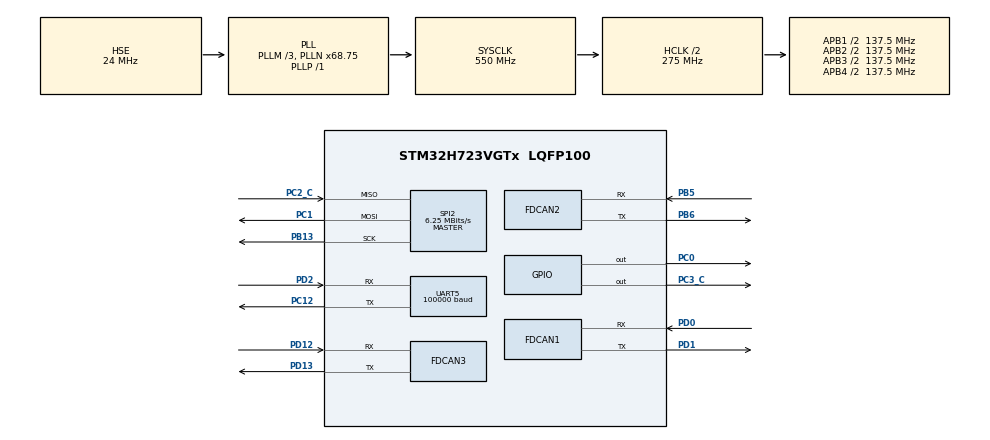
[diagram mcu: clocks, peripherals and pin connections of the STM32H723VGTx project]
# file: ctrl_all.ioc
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CORTEX_M7.default_mode_Activation=1
Dma.Request0=UART5_RX
Dma.UART5_RX.0.Direction=DMA_PERIPH_TO_MEMORY
Dma.UART5_RX.0.EventEnable=DISABLE
Dma.UART5_RX.0.FIFOMode=DMA_FIFOMODE_DISABLE
Dma.UART5_RX.0.Instance=DMA1_Stream0
Dma.UART5_RX.0.MemDataAlignment=DMA_MDATAALIGN_BYTE
Dma.UART5_RX.0.MemInc=DMA_MINC_ENABLE
Dma.UART5_RX.0.Mode=DMA_CIRCULAR
Dma.UART5_RX.0.PeriphDataAlignment=DMA_PDATAALIGN_BYTE
Dma.UART5_RX.0.PeriphInc=DMA_PINC_DISABLE
Dma.UART5_RX.0.Polarity=HAL_DMAMUX_REQ_GEN_RISING
Dma.UART5_RX.0.Priority=DMA_PRIORITY_VERY_HIGH
Dma.UART5_RX.0.RequestNumber=1
Dma.UART5_RX.0.SignalID=NONE
Dma.UART5_RX.0.SyncEnable=DISABLE
Dma.UART5_RX.0.SyncPolarity=HAL_DMAMUX_SYNC_NO_EVENT
Dma.UART5_RX.0.SyncRequestNumber=1
Dma.UART5_RX.0.SyncSignalID=NONE
FDCAN1.AutoRetransmission=ENABLE
FDCAN1.CalculateBaudRateNominal=1000000
FDCAN1.CalculateTimeBitNominal=1000
FDCAN1.CalculateTimeQuantumNominal=50.0
FDCAN1.NominalPrescaler=5
FDCAN1.NominalSyncJumpWidth=4
FDCAN1.NominalTimeSeg1=15
FDCAN1.NominalTimeSeg2=4
FDCAN1.ProtocolException=ENABLE
FDCAN1.RxFifo0ElmtsNbr=8
FDCAN1.RxFifo1ElmtsNbr=8
FDCAN1.StdFiltersNbr=2
FDCAN1.TxFifoQueueElmtsNbr=8
FDCAN2.CalculateBaudRateNominal=1000000
FDCAN2.CalculateTimeBitNominal=1000
FDCAN2.CalculateTimeQuantumNominal=50.0
FDCAN2.MessageRAMOffset=98
FDCAN2.NominalPrescaler=5
FDCAN2.NominalTimeSeg1=15
FDCAN2.NominalTimeSeg2=4
FDCAN2.RxFifo0ElmtsNbr=16
FDCAN2.RxFifo1ElmtsNbr=16
FDCAN2.StdFiltersNbr=2
FDCAN2.TxBuffersNbr=24
FDCAN2.TxFifoQueueElmtsNbr=8
FDCAN3.CalculateBaudRateNominal=1000000
FDCAN3.CalculateTimeBitNominal=1000
FDCAN3.CalculateTimeQuantumNominal=50.0
FDCAN3.MessageRAMOffset=356
FDCAN3.NominalPrescaler=5
FDCAN3.NominalTimeSeg1=15
FDCAN3.NominalTimeSeg2=4
FDCAN3.RxFifo0ElmtsNbr=16
FDCAN3.StdFiltersNbr=1
FDCAN3.TxBuffersNbr=24
FDCAN3.TxFifoQueueElmtsNbr=8
FREERTOS.Tasks01=defaultTask,24,128,StartDefaultTask,Default,NULL,Dynamic,NULL,NULL;chassis_Task,40,512,StartTask02,Default,NULL,Dynamic,NULL,NULL;remoter_Task,24,128,StartTask03,Default,NULL,Dynamic,NULL,NULL;GimbalTask,40,256,StartTask04,Default,NULL,Dynamic,NULL,NULL
Mcu.Family=STM32H7
Mcu.Name=STM32H723VGTx
Mcu.Package=LQFP100
NVIC.DMA1_Stream0_IRQn=true\:6\:0\:false\:false\:true\:true\:false\:true\:true
NVIC.FDCAN1_IT0_IRQn=true\:5\:0\:false\:false\:true\:true\:true\:true\:true
NVIC.FDCAN2_IT0_IRQn=true\:5\:0\:false\:false\:true\:true\:true\:true\:true
NVIC.FDCAN3_IT0_IRQn=true\:5\:0\:false\:false\:true\:true\:true\:true\:true
NVIC.PriorityGroup=NVIC_PRIORITYGROUP_4
NVIC.TIM6_DAC_IRQn=true\:15\:0\:false\:false\:true\:false\:false\:true\:true
NVIC.TimeBase=TIM6_DAC_IRQn
NVIC.TimeBaseIP=TIM6
NVIC.UART5_IRQn=true\:6\:0\:false\:false\:true\:true\:true\:true\:true
PA13(JTMS/SWDIO).Signal=DEBUG_JTMS-SWDIO
PA14(JTCK/SWCLK).Signal=DEBUG_JTCK-SWCLK
PB13.Mode=Full_Duplex_Master
PB13.Signal=SPI2_SCK
PB5.GPIO_Speed=GPIO_SPEED_FREQ_VERY_HIGH
PB5.Mode=FDCAN_Activate
PB5.Signal=FDCAN2_RX
PB6.GPIO_Speed=GPIO_SPEED_FREQ_VERY_HIGH
PB6.Mode=FDCAN_Activate
PB6.Signal=FDCAN2_TX
PC0.GPIO_Speed=GPIO_SPEED_FREQ_VERY_HIGH
PC0.PinState=GPIO_PIN_SET
PC0.Signal=GPIO_Output
PC1.Mode=Full_Duplex_Master
PC1.Signal=SPI2_MOSI
PC12.GPIO_Speed=GPIO_SPEED_FREQ_VERY_HIGH
PC12.Mode=Asynchronous
PC12.Signal=UART5_TX
PC2_C.Mode=Full_Duplex_Master
PC2_C.Signal=SPI2_MISO
PC3_C.GPIO_Speed=GPIO_SPEED_FREQ_VERY_HIGH
PC3_C.PinState=GPIO_PIN_SET
PC3_C.Signal=GPIO_Output
PD0.GPIO_Speed=GPIO_SPEED_FREQ_VERY_HIGH
PD0.Mode=FDCAN_Activate
PD0.Signal=FDCAN1_RX
PD1.GPIO_Speed=GPIO_SPEED_FREQ_VERY_HIGH
PD1.Mode=FDCAN_Activate
PD1.Signal=FDCAN1_TX
PD12.GPIO_Speed=GPIO_SPEED_FREQ_VERY_HIGH
PD12.Mode=FDCAN_Activate
PD12.Signal=FDCAN3_RX
PD13.GPIO_Speed=GPIO_SPEED_FREQ_VERY_HIGH
PD13.Mode=FDCAN_Activate
PD13.Signal=FDCAN3_TX
PD2.GPIO_Speed=GPIO_SPEED_FREQ_VERY_HIGH
PD2.Mode=Asynchronous
PD2.Signal=UART5_RX
PH0-OSC_IN.Mode=HSE-External-Oscillator
PH0-OSC_IN.Signal=RCC_OSC_IN
PH1-OSC_OUT.Mode=HSE-External-Oscillator
PH1-OSC_OUT.Signal=RCC_OSC_OUT
ProjectManager.HeapSize=0x200
ProjectManager.StackSize=0x400
ProjectManager.TargetToolchain=MDK-ARM V5.32
RCC.ADCFreq_Value=100000000
RCC.APB1Freq_Value=137500000
RCC.APB2Freq_Value=137500000
RCC.APB3Freq_Value=137500000
RCC.APB4Freq_Value=137500000
RCC.CortexFreq_Value=550000000
RCC.D1PPRE=RCC_APB3_DIV2
RCC.D2PPRE1=RCC_APB1_DIV2
RCC.D2PPRE2=RCC_APB2_DIV2
RCC.D3PPRE=RCC_APB4_DIV2
RCC.DIVM1=3
RCC.DIVM2=3
RCC.DIVN1=68
RCC.DIVN2=25
RCC.DIVP1=1
RCC.DIVQ1=4
RCC.FDCANCLockSelection=RCC_FDCANCLKSOURCE_PLL2
RCC.HCLKFreq_Value=275000000
RCC.HPRE=RCC_HCLK_DIV2
RCC.HSE_VALUE=24000000
RCC.PLLFRACN=6144
RCC.PLLSourceVirtual=RCC_PLLSOURCE_HSE
RCC.SPI123CLockSelection=RCC_SPI123CLKSOURCE_PLL2
RCC.SYSCLKFreq_VALUE=550000000
RCC.SYSCLKSource=RCC_SYSCLKSOURCE_PLLCLK
RCC.USBFreq_Value=137500000
SPI2.BaudRatePrescaler=SPI_BAUDRATEPRESCALER_16
SPI2.CalculateBaudRate=6.25 MBits/s
SPI2.DataSize=SPI_DATASIZE_8BIT
SPI2.Direction=SPI_DIRECTION_2LINES
SPI2.Mode=SPI_MODE_MASTER
SPI2.VirtualType=VM_MASTER
UART5.BaudRate=100000
UART5.Mode=MODE_RX
UART5.Parity=PARITY_EVEN
UART5.WordLength=WORDLENGTH_9B
VP_FREERTOS_VS_CMSIS_V2.Mode=CMSIS_V2
VP_MEMORYMAP_VS_MEMORYMAP.Mode=CurAppReg
VP_SYS_VS_tim6.Mode=TIM6
board=custom

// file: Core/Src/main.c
/* USER CODE BEGIN Header */
/**
  ******************************************************************************
  * @file           : main.c
  * @brief          : Main program body
  ******************************************************************************
  * @attention
  *
  * Copyright (c) 2026 STMicroelectronics.
  * All rights reserved.
  *
  * This software is licensed under terms that can be found in the LICENSE file
  * in the root directory of this software component.
  * If no LICENSE file comes with this software, it is provided AS-IS.
  *
  ******************************************************************************
  */
/* USER CODE END Header */
#include "main.h"
#include "FreeRTOS.h"
#include "cmsis_os2.h"
#include "dma.h"
#include "fdcan.h"
#include "spi.h"
#include "usart.h"
#include "gpio.h"

void SystemClock_Config(void);
void PeriphCommonClock_Config(void);
static void MPU_Config(void);
void MX_FREERTOS_Init(void);

int main(void)
{

  /* MPU Configuration--------------------------------------------------------*/
  MPU_Config();

  /* MCU Configuration--------------------------------------------------------*/

  /* Reset of all peripherals, Initializes the Flash interface and the Systick. */
  HAL_Init();

  /* Configure the system clock */
  SystemClock_Config();

  /* Configure the peripherals common clocks */
  PeriphCommonClock_Config();

  /* Initialize all configured peripherals */
  MX_GPIO_Init();
  MX_DMA_Init();
  MX_FDCAN1_Init();
  MX_FDCAN2_Init();
  MX_FDCAN3_Init();
  MX_SPI2_Init();
  MX_UART5_Init();

  /* Init scheduler */
  osKernelInitialize();  /* Call init function for freertos objects (in cmsis_os2.c) */
  MX_FREERTOS_Init();

  /* Start scheduler */
  osKernelStart();

  /* We should never get here as control is now taken by the scheduler */

  /* Infinite loop */
  while (1)
  {

  }
}

void SystemClock_Config(void)
{
  RCC_OscInitTypeDef RCC_OscInitStruct = {0};
  RCC_ClkInitTypeDef RCC_ClkInitStruct = {0};

  /** Supply configuration update enable
  */
  HAL_PWREx_ConfigSupply(PWR_LDO_SUPPLY);

  /** Configure the main internal regulator output voltage
  */
  __HAL_PWR_VOLTAGESCALING_CONFIG(PWR_REGULATOR_VOLTAGE_SCALE0);

  while(!__HAL_PWR_GET_FLAG(PWR_FLAG_VOSRDY)) {}

  /** Initializes the RCC Oscillators according to the specified parameters
  * in the RCC_OscInitTypeDef structure.
  */
  RCC_OscInitStruct.OscillatorType = RCC_OSCILLATORTYPE_HSE;
  RCC_OscInitStruct.HSEState = RCC_HSE_ON;
  RCC_OscInitStruct.PLL.PLLState = RCC_PLL_ON;
  RCC_OscInitStruct.PLL.PLLSource = RCC_PLLSOURCE_HSE;
  RCC_OscInitStruct.PLL.PLLM = 3;
  RCC_OscInitStruct.PLL.PLLN = 68;
  RCC_OscInitStruct.PLL.PLLP = 1;
  RCC_OscInitStruct.PLL.PLLQ = 4;
  RCC_OscInitStruct.PLL.PLLR = 2;
  RCC_OscInitStruct.PLL.PLLRGE = RCC_PLL1VCIRANGE_3;
  RCC_OscInitStruct.PLL.PLLVCOSEL = RCC_PLL1VCOWIDE;
  RCC_OscInitStruct.PLL.PLLFRACN = 6144;
  if (HAL_RCC_OscConfig(&RCC_OscInitStruct) != HAL_OK)
  {
    Error_Handler();
  }

  /** Initializes the CPU, AHB and APB buses clocks
  */
  RCC_ClkInitStruct.ClockType = RCC_CLOCKTYPE_HCLK|RCC_CLOCKTYPE_SYSCLK
                              |RCC_CLOCKTYPE_PCLK1|RCC_CLOCKTYPE_PCLK2
                              |RCC_CLOCKTYPE_D3PCLK1|RCC_CLOCKTYPE_D1PCLK1;
  RCC_ClkInitStruct.SYSCLKSource = RCC_SYSCLKSOURCE_PLLCLK;
  RCC_ClkInitStruct.SYSCLKDivider = RCC_SYSCLK_DIV1;
  RCC_ClkInitStruct.AHBCLKDivider = RCC_HCLK_DIV2;
  RCC_ClkInitStruct.APB3CLKDivider = RCC_APB3_DIV2;
  RCC_ClkInitStruct.APB1CLKDivider = RCC_APB1_DIV2;
  RCC_ClkInitStruct.APB2CLKDivider = RCC_APB2_DIV2;
  RCC_ClkInitStruct.APB4CLKDivider = RCC_APB4_DIV2;

  if (HAL_RCC_ClockConfig(&RCC_ClkInitStruct, FLASH_LATENCY_3) != HAL_OK)
  {
    Error_Handler();
  }
}

void PeriphCommonClock_Config(void)
{
  RCC_PeriphCLKInitTypeDef PeriphClkInitStruct = {0};

  /** Initializes the peripherals clock
  */
  PeriphClkInitStruct.PeriphClockSelection = RCC_PERIPHCLK_SPI2|RCC_PERIPHCLK_FDCAN;
  PeriphClkInitStruct.PLL2.PLL2M = 3;
  PeriphClkInitStruct.PLL2.PLL2N = 25;
  PeriphClkInitStruct.PLL2.PLL2P = 2;
  PeriphClkInitStruct.PLL2.PLL2Q = 2;
  PeriphClkInitStruct.PLL2.PLL2R = 2;
  PeriphClkInitStruct.PLL2.PLL2RGE = RCC_PLL2VCIRANGE_3;
  PeriphClkInitStruct.PLL2.PLL2VCOSEL = RCC_PLL2VCOWIDE;
  PeriphClkInitStruct.PLL2.PLL2FRACN = 0;
  PeriphClkInitStruct.Spi123ClockSelection = RCC_SPI123CLKSOURCE_PLL2;
  PeriphClkInitStruct.FdcanClockSelection = RCC_FDCANCLKSOURCE_PLL2;
  if (HAL_RCCEx_PeriphCLKConfig(&PeriphClkInitStruct) != HAL_OK)
  {
    Error_Handler();
  }
}

 /* MPU Configuration */

void MPU_Config(void)
{
  MPU_Region_InitTypeDef MPU_InitStruct = {0};

  /* Disables the MPU */
  HAL_MPU_Disable();

  /** Initializes and configures the Region and the memory to be protected
  */
  MPU_InitStruct.Enable = MPU_REGION_ENABLE;
  MPU_InitStruct.Number = MPU_REGION_NUMBER0;
  MPU_InitStruct.BaseAddress = 0x0;
  MPU_InitStruct.Size = MPU_REGION_SIZE_4GB;
  MPU_InitStruct.SubRegionDisable = 0x87;
  MPU_InitStruct.TypeExtField = MPU_TEX_LEVEL0;
  MPU_InitStruct.AccessPermission = MPU_REGION_NO_ACCESS;
  MPU_InitStruct.DisableExec = MPU_INSTRUCTION_ACCESS_DISABLE;
  MPU_InitStruct.IsShareable = MPU_ACCESS_SHAREABLE;
  MPU_InitStruct.IsCacheable = MPU_ACCESS_NOT_CACHEABLE;
  MPU_InitStruct.IsBufferable = MPU_ACCESS_NOT_BUFFERABLE;

  HAL_MPU_ConfigRegion(&MPU_InitStruct);
  /* Enables the MPU */
  HAL_MPU_Enable(MPU_PRIVILEGED_DEFAULT);

}

void HAL_TIM_PeriodElapsedCallback(TIM_HandleTypeDef *htim)
{
  if (htim->Instance == TIM6)
  {
    HAL_IncTick();
  }
}

void Error_Handler(void)
{
  __disable_irq();
  while (1)
  {
  }
}

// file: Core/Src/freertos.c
/* USER CODE BEGIN Header */
/**
  ******************************************************************************
  * File Name          : freertos.c
  * Description        : Code for freertos applications
  ******************************************************************************
  * @attention
  *
  * Copyright (c) 2026 STMicroelectronics.
  * All rights reserved.
  *
  * This software is licensed under terms that can be found in the LICENSE file
  * in the root directory of this software component.
  * If no LICENSE file comes with this software, it is provided AS-IS.
  *
  ******************************************************************************
  */
/* USER CODE END Header */

#include "FreeRTOS.h"
#include "task.h"
#include "main.h"
#include "FreeRTOS.h"
#include "cmsis_os2.h"

/* USER CODE BEGIN Includes */
#include "chassis.h"
#include "fdcan.h"
#include "gimbal.h"
#include "remote_control.h"

/* USER CODE END Includes */

/* Definitions for defaultTask */
osThreadId_t defaultTaskHandle;
const osThreadAttr_t defaultTask_attributes = {
  .name = "defaultTask",
  .stack_size = 128 * 4,
  .priority = (osPriority_t) osPriorityNormal,
};
/* Definitions for chassis_Task */
osThreadId_t chassis_TaskHandle;
const osThreadAttr_t chassis_Task_attributes = {
  .name = "chassis_Task",
  .stack_size = 512 * 4,
  .priority = (osPriority_t) osPriorityHigh,
};
/* Definitions for remoter_Task */
osThreadId_t remoter_TaskHandle;
const osThreadAttr_t remoter_Task_attributes = {
  .name = "remoter_Task",
  .stack_size = 128 * 4,
  .priority = (osPriority_t) osPriorityNormal,
};
/* Definitions for GimbalTask */
osThreadId_t GimbalTaskHandle;
const osThreadAttr_t GimbalTask_attributes = {
  .name = "GimbalTask",
  .stack_size = 256 * 4,
  .priority = (osPriority_t) osPriorityHigh,
};

void StartDefaultTask(void *argument);
void StartTask02(void *argument);
void StartTask03(void *argument);
void StartTask04(void *argument);

void MX_FREERTOS_Init(void); /* (MISRA C 2004 rule 8.1) */

void MX_FREERTOS_Init(void) {

  /* Create the thread(s) */
  /* creation of defaultTask */
  defaultTaskHandle = osThreadNew(StartDefaultTask, NULL, &defaultTask_attributes);

  /* creation of chassis_Task */
  chassis_TaskHandle = osThreadNew(StartTask02, NULL, &chassis_Task_attributes);

  /* creation of remoter_Task */
  remoter_TaskHandle = osThreadNew(StartTask03, NULL, &remoter_Task_attributes);

  /* creation of GimbalTask */
  GimbalTaskHandle = osThreadNew(StartTask04, NULL, &GimbalTask_attributes);

}

void StartDefaultTask(void *argument)
{
  for(;;)
  {
    osDelay(1);
  }
}

void StartTask02(void *argument)
{
  /* USER CODE BEGIN StartTask02 */
  uint32_t wake_time;

  /* Wait for the four DM3519 motors to finish powering up. */
  osDelay(1000);
  while (!chassis_init(&hfdcan1))
  {
    osDelay(100);
  }

  wake_time = osKernelGetTickCount();
  for(;;)
  {
    //�����������
    chassis_control_step();

    wake_time += CHASSIS_CONTROL_TIME_MS;
    if (osDelayUntil(wake_time) != osOK)
    {
      wake_time = osKernelGetTickCount();
    }
  }
  /* USER CODE END StartTask02 */
}

void StartTask03(void *argument)
{
  /* USER CODE BEGIN StartTask03 */
  while (!remote_control_init())
  {
    osDelay(100);
  }
  osThreadExit();
  /* USER CODE END StartTask03 */
}

void StartTask04(void *argument)
{
  /* USER CODE BEGIN StartTask04 */
  uint32_t wake_time;

  osDelay(1000);
  while (!gimbal_yaw_init(&hfdcan3, &hfdcan2))
  {
    osDelay(100);
  }

  wake_time = osKernelGetTickCount();
  for(;;)
  {
    //��̨�������
    gimbal_yaw_control_step();
    gimbal_pitch_control_step();

    wake_time += GIMBAL_CONTROL_TIME_MS;
    if (osDelayUntil(wake_time) != osOK)
    {
      wake_time = osKernelGetTickCount();
    }
  }
  /* USER CODE END StartTask04 */
}
